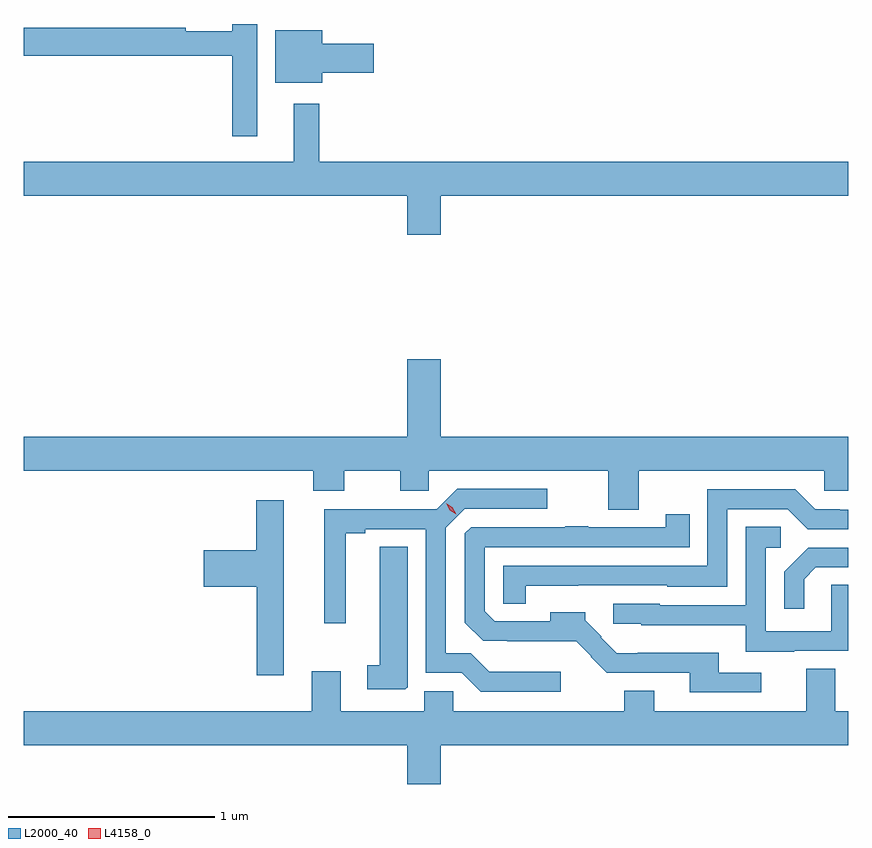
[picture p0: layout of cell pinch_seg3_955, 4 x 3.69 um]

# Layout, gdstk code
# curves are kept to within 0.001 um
import gdstk
lib = gdstk.Library(unit=1e-6, precision=1e-09)
def P(c, l, *ps):  # polygons
    for p in ps: c.add(gdstk.Polygon(p, *l))
L2000_40 = (2000, 40)
L4158_0 = (4158, 0)

pinch_seg3_955 = lib.new_cell('pinch_seg3_955')
P(pinch_seg3_955, L2000_40, [(475.969,732.385),(475.848,732.385),(475.848,732.349),(475.622,732.349),(475.622,732.368),(474.836,732.368),(474.836,732.232),(475.848,732.232),(475.848,731.841),(475.969,731.841)],
  [(476.284,732.148),(476.533,732.148),(476.533,732.29),(476.284,732.29),(476.284,732.355),(476.057,732.355),(476.057,732.101),(476.284,732.101)],
  [(476.86,731.552),(478.836,731.552),(478.836,731.716),(476.269,731.716),(476.269,731.998),(476.147,731.998),(476.147,731.716),(474.836,731.716),(474.836,731.552),(476.696,731.552),(476.696,731.364),(476.86,731.364)],
  [(477.819,730.22),(478.719,730.22),(478.719,730.122),(478.836,730.122),(478.836,730.384),(476.86,730.384),(476.86,730.759),(476.696,730.759),(476.696,730.384),(474.836,730.384),(474.836,730.22),(476.24,730.22),(476.24,730.121),(476.392,730.121),(476.392,730.22),(476.663,730.22),(476.663,730.122),(476.802,730.122),(476.802,730.22),(477.671,730.22),(477.671,730.03),(477.819,730.03)],
  [(477.442,729.244),(477.095,729.244),(477.004,729.335),(476.883,729.335),(476.883,729.942),(476.976,730.035),(477.376,730.035),(477.376,730.131),(476.939,730.131),(476.84,730.032),(476.294,730.032),(476.294,729.48),(476.398,729.48),(476.398,729.916),(476.494,729.916),(476.494,729.936),(476.787,729.936),(476.787,729.24),(476.961,729.24),(477.054,729.147),(477.442,729.147)],
  [(477.271,729.662),(477.957,729.663),(477.957,729.656),(478.248,729.656),(478.248,730.032),(478.542,730.032),(478.638,729.936),(478.836,729.936),(478.836,730.029),(478.794,730.029),(478.794,730.032),(478.674,730.032),(478.578,730.128),(478.152,730.128),(478.152,729.759),(477.162,729.759),(477.162,729.574),(477.271,729.574)],
  [(476.098,730.075),(475.964,730.075),(475.964,729.834),(475.71,729.834),(475.71,729.656),(475.967,729.656),(475.967,729.228),(476.098,729.228)],
  [(478.414,729.24),(478.207,729.24),(478.207,729.337),(477.814,729.337),(477.814,729.335),(477.713,729.335),(477.636,729.411),(477.639,729.414),(477.56,729.493),(477.56,729.532),(477.389,729.532),(477.389,729.489),(477.12,729.489),(477.072,729.537),(477.072,729.849),(478.067,729.849),(478.067,730.009),(477.949,730.009),(477.949,729.945),(477.575,729.945),(477.575,729.95),(477.463,729.95),(477.463,729.945),(477.006,729.945),(476.976,729.915),(476.976,729.483),(477.065,729.394),(477.181,729.394),(477.181,729.392),(477.515,729.393),(477.589,729.319),(477.587,729.317),(477.663,729.24),(478.067,729.24),(478.067,729.144),(478.414,729.144)],
  [(478.573,729.345),(478.836,729.345),(478.836,729.665),(478.752,729.665),(478.752,729.441),(478.434,729.441),(478.434,729.846),(478.507,729.846),(478.507,729.947),(478.338,729.947),(478.338,729.567),(477.921,729.567),(477.921,729.573),(477.696,729.573),(477.696,729.477),(477.831,729.477),(477.831,729.47),(478.337,729.47),(478.337,729.341),(478.573,729.341)],
  [(476.698,729.169),(476.698,729.851),(476.564,729.851),(476.564,729.275),(476.502,729.275),(476.502,729.159),(476.688,729.159)],
  [(478.621,729.693),(478.678,729.75),(478.836,729.75),(478.836,729.846),(478.64,729.846),(478.524,729.73),(478.524,729.549),(478.621,729.549)],
  [(476.86,728.888),(478.836,728.888),(478.836,729.052),(478.771,729.052),(478.771,729.26),(478.631,729.26),(478.631,729.052),(477.895,729.052),(477.895,729.151),(477.748,729.151),(477.748,729.052),(476.919,729.052),(476.919,729.15),(476.78,729.15),(476.78,729.052),(476.374,729.052),(476.374,729.247),(476.234,729.247),(476.234,729.052),(474.836,729.052),(474.836,728.888),(476.696,728.888),(476.696,728.7),(476.86,728.7)])
P(pinch_seg3_955, L4158_0, [(476.933,730.008),(476.902,730.028),(476.885,730.062),(476.885,730.062),(476.885,730.062),(476.916,730.042),(476.933,730.008),(476.933,730.008)])

lib.write_gds('pinch_seg3_955.gds')
